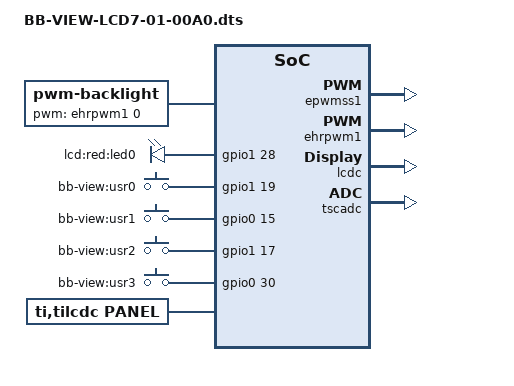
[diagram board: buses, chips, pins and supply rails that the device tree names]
/*
 * Copyright (C) 2012 Texas Instruments Incorporated - http://www.ti.com/
 *
 * This program is free software; you can redistribute it and/or modify
 * it under the terms of the GNU General Public License version 2 as
 * published by the Free Software Foundation.
 */

/dts-v1/;
/plugin/;

#include <dt-bindings/gpio/gpio.h>
#include <dt-bindings/pinctrl/am33xx.h>
#include <dt-bindings/board/am335x-bbw-bbb-base.h>

/ {
	/*
	 * Helper to show loaded overlays under: /proc/device-tree/chosen/overlays/
	 */
	fragment@0 {
		target-path="/";
		__overlay__ {

			chosen {
				overlays {
					BB-VIEW-LCD7-01-00A0 = __TIMESTAMP__;
				};
			};
		};
	};

	/*
	 * Free up the pins used by the cape from the pinmux helpers.
	 */
	fragment@1 {
		target = <&ocp>;
		__overlay__ {
			P9_12_pinmux { status = "disabled"; };	/* P9_12: gpmc_be1n.gpio1_28, INPUT | PULLDIS | MODE7 */

			P9_14_pinmux { status = "disabled"; };	/* P9_14: gpmc_a2.ehrpwm1a */

			P8_45_pinmux { status = "disabled"; };	/* lcd: lcd_data0 */
			P8_46_pinmux { status = "disabled"; };	/* lcd: lcd_data1 */
			P8_43_pinmux { status = "disabled"; };	/* lcd: lcd_data2 */
			P8_44_pinmux { status = "disabled"; };	/* lcd: lcd_data3 */
			P8_41_pinmux { status = "disabled"; };	/* lcd: lcd_data4 */
			P8_42_pinmux { status = "disabled"; };	/* lcd: lcd_data5 */
			P8_39_pinmux { status = "disabled"; };	/* lcd: lcd_data6 */
			P8_40_pinmux { status = "disabled"; };	/* lcd: lcd_data7 */
			P8_37_pinmux { status = "disabled"; };	/* lcd: lcd_data8 */
			P8_38_pinmux { status = "disabled"; };	/* lcd: lcd_data9 */
			P8_36_pinmux { status = "disabled"; };	/* lcd: lcd_data10 */
			P8_34_pinmux { status = "disabled"; };	/* lcd: lcd_data11 */
			P8_35_pinmux { status = "disabled"; };	/* lcd: lcd_data12 */
			P8_33_pinmux { status = "disabled"; };	/* lcd: lcd_data13 */
			P8_31_pinmux { status = "disabled"; };	/* lcd: lcd_data14 */
			P8_32_pinmux { status = "disabled"; };	/* lcd: lcd_data15 */

			P8_15_pinmux { status = "disabled"; };	/* gpmc_ad15.lcd_data16 */
			P8_16_pinmux { status = "disabled"; };	/* gpmc_ad14.lcd_data17 */
			P8_11_pinmux { status = "disabled"; };	/* gpmc_ad13.lcd_data18 */
			P8_12_pinmux { status = "disabled"; };	/* gpmc_ad12.lcd_data19 */
			P8_17_pinmux { status = "disabled"; };	/* gpmc_ad11.lcd_data20 */
			P8_14_pinmux { status = "disabled"; };	/* gpmc_ad10.lcd_data21 */
			P8_13_pinmux { status = "disabled"; };	/* gpmc_ad9.lcd_data22 */
			P8_19_pinmux { status = "disabled"; };	/* gpmc_ad8.lcd_data23 */

			P8_27_pinmux { status = "disabled"; };	/* lcd: lcd_vsync */
			P8_29_pinmux { status = "disabled"; };	/* lcd: lcd_hsync */
			P8_28_pinmux { status = "disabled"; };	/* lcd: lcd_pclk */
			P8_30_pinmux { status = "disabled"; };	/* lcd: lcd_ac_bias_en */

			P9_16_pinmux { status = "disabled"; };	/* P9_16: gpmc_a3.gpio1_19 */
			P9_24_pinmux { status = "disabled"; };	/* P9_24: uart1_txd.gpio0_15 */
			P9_23_pinmux { status = "disabled"; };	/* P9_23: gpmc_a1.gpio1_17 */
			P9_11_pinmux { status = "disabled"; };	/* P9_11: gpmc_wait0.gpio0_30 */
		};
	};

	fragment@2 {
		target = <&am33xx_pinmux>;
		__overlay__ {

			bb_lcd_led_pins: pinmux_bb_lcd_led_pins {
				pinctrl-single,pins = <
					BONE_P9_12 (PIN_INPUT | MUX_MODE7)	/* P9_12: gpmc_be1n.gpio1_28, INPUT | PULLDIS | MODE7 */
					/* I2C cape eeprom */
					/* BONE_P9_20 (PIN_INPUT | MUX_MODE7) */ /* uart1_ctsn.gpio0_12,INPUT | PULLDIS | MODE7 */
				>;
			};

			bb_lcd_pwm_backlight_pins: pinmux_bb_lcd_pwm_backlight_pins {
				pinctrl-single,pins = <
					BONE_P9_14 (PIN_OUTPUT_PULLDOWN | MUX_MODE6)	/* P9_14: gpmc_a2.ehrpwm1a */
				>;
			};

			bb_lcd_lcd_pins: pinmux_bb_lcd_lcd_pins {
				pinctrl-single,pins = <
					BONE_P8_45 (PIN_OUTPUT | MUX_MODE0)	/* P8_45: lcd_data0.lcd_data0 */
					BONE_P8_46 (PIN_OUTPUT | MUX_MODE0)	/* P8_46: lcd_data1.lcd_data1 */
					BONE_P8_43 (PIN_OUTPUT | MUX_MODE0)	/* P8_43: lcd_data2.lcd_data2 */
					BONE_P8_44 (PIN_OUTPUT | MUX_MODE0)	/* P8_44: lcd_data3.lcd_data3 */
					BONE_P8_41 (PIN_OUTPUT | MUX_MODE0)	/* P8_41: lcd_data4.lcd_data4 */
					BONE_P8_42 (PIN_OUTPUT | MUX_MODE0)	/* P8_42: lcd_data5.lcd_data5 */
					BONE_P8_39 (PIN_OUTPUT | MUX_MODE0)	/* P8_39: lcd_data6.lcd_data6 */
					BONE_P8_40 (PIN_OUTPUT | MUX_MODE0)	/* P8_40: lcd_data7.lcd_data7 */
					BONE_P8_37 (PIN_OUTPUT | MUX_MODE0)	/* P8_37: lcd_data8.lcd_data8 */
					BONE_P8_38 (PIN_OUTPUT | MUX_MODE0)	/* P8_38: lcd_data9.lcd_data9 */
					BONE_P8_36 (PIN_OUTPUT | MUX_MODE0)	/* P8_36: lcd_data10.lcd_data10 */
					BONE_P8_34 (PIN_OUTPUT | MUX_MODE0)	/* P8_34: lcd_data11.lcd_data11 */
					BONE_P8_35 (PIN_OUTPUT | MUX_MODE0)	/* P8_35: lcd_data12.lcd_data12 */
					BONE_P8_33 (PIN_OUTPUT | MUX_MODE0)	/* P8_33: lcd_data13.lcd_data13 */
					BONE_P8_31 (PIN_OUTPUT | MUX_MODE0)	/* P8_31: lcd_data14.lcd_data14 */
					BONE_P8_32 (PIN_OUTPUT | MUX_MODE0)	/* P8_32: lcd_data15.lcd_data15 */

					BONE_P8_15 (PIN_OUTPUT | MUX_MODE1)	/* P8_15: gpmc_ad15.lcd_data16 */
					BONE_P8_16 (PIN_OUTPUT | MUX_MODE1)	/* P8_16: gpmc_ad14.lcd_data17 */
					BONE_P8_11 (PIN_OUTPUT | MUX_MODE1)	/* P8_11: gpmc_ad13.lcd_data18 */
					BONE_P8_12 (PIN_OUTPUT | MUX_MODE1)	/* P8_12: gpmc_ad12.lcd_data19 */
					BONE_P8_17 (PIN_OUTPUT | MUX_MODE1)	/* P8_17: gpmc_ad11.lcd_data20 */
					BONE_P8_14 (PIN_OUTPUT | MUX_MODE1)	/* P8_14: gpmc_ad10.lcd_data21 */
					BONE_P8_13 (PIN_OUTPUT | MUX_MODE1)	/* P8_13: gpmc_ad9.lcd_data22 */
					BONE_P8_19 (PIN_OUTPUT | MUX_MODE1)	/* P8_19: gpmc_ad8.lcd_data23 */

					BONE_P8_27 (PIN_OUTPUT | MUX_MODE0)	/* P8_27: lcd_vsync.lcd_vsync */
					BONE_P8_29 (PIN_OUTPUT | MUX_MODE0)	/* P8_29: lcd_hsync.lcd_hsync */
					BONE_P8_28 (PIN_OUTPUT | MUX_MODE0)	/* P8_28: lcd_pclk.lcd_pclk */
					BONE_P8_30 (PIN_OUTPUT | MUX_MODE0)	/* P8_30: lcd_ac_bias_en.lcd_ac_bias_en */
				>;
			};

			bb_lcd_keymap_pins: pinmux_bb_lcd_keymap_pins {
				pinctrl-single,pins = <
					BONE_P9_16 (PIN_INPUT | MUX_MODE7)	/* P9_16: gpmc_a3.gpio1_19 */
					BONE_P9_24 (PIN_INPUT | MUX_MODE7)	/* P9_24: uart1_txd.gpio0_15 */
					BONE_P9_23 (PIN_INPUT | MUX_MODE7)	/* P9_23: gpmc_a1.gpio1_17 */
					BONE_P9_11 (PIN_INPUT | MUX_MODE7)	/* P9_11: gpmc_wait0.gpio0_30 */
				>;
			};
		};
	};

	fragment@3 {
		target = <&epwmss1>;
		__overlay__ {
			status = "okay";
		};
	};

	fragment@4 {
		target = <&ehrpwm1>;
		__overlay__ {
			pinctrl-names = "default";
			pinctrl-0 = <&bb_lcd_pwm_backlight_pins>;
			status = "okay";
		};
	};

	fragment@5 {
		target = <&lcdc>;
		__overlay__ {
			status = "okay";
			blue-and-red-wiring = "crossed";
		};
	};

	fragment@6 {
		target = <&tscadc>;
		__overlay__ {
			status = "okay";
			tsc {
				ti,wires = <4>;
				ti,x-plate-resistance = <200>;
				ti,coordinate-readouts = <5>;
				ti,wire-config = <0x00 0x11 0x22 0x33>;
				ti,charge-delay = <0x400>;
			};

			adc {
				ti,adc-channels = <4 5 6 7>;
			};
		};
	};

	fragment@7 {
		target-path="/";
		__overlay__ {
			backlight {
				status = "okay";
				compatible = "pwm-backlight";
				pwms = <&ehrpwm1 0 500000 0>;
				brightness-levels = <
					0  1  2  3  4  5  6  7  8  9
					10 11 12 13 14 15 16 17 18 19
					20 21 22 23 24 25 26 27 28 29
					30 31 32 33 34 35 36 37 38 39
					40 41 42 43 44 45 46 47 48 49
					50 51 52 53 54 55 56 57 58 59
					60 61 62 63 64 65 66 67 68 69
					70 71 72 73 74 75 76 77 78 79
					80 81 82 83 84 85 86 87 88 89
					90 91 92 93 94 95 96 97 98 99
					100
				>;
				default-brightness-level = <100>;
			};

			gpio-leds-cape-lcd {
				compatible = "gpio-leds";
				pinctrl-names = "default";
				pinctrl-0 = <&bb_lcd_led_pins>;

				lcd-led0 {
					label = "lcd:red:led0";
					gpios = <&gpio1 28 0>;
					linux,default-trigger = "heartbeat";
					default-state = "off";
				};

/* I2C cape eeprom */
/*
				lcd-led1 {
					label = "lcd:green:led1";
					gpios = <&gpio0 12 0>;
					linux,default-trigger = "none";
					default-state = "off";
				};
*/
			};

			gpio_keys {
				compatible = "gpio-keys";
				pinctrl-names = "default";
				pinctrl-0 = <&bb_lcd_keymap_pins>;

				button@1 {
					debounce_interval = <50>;
					linux,code = <0x100>;
					label = "bb-view:usr0";
					gpios = <&gpio1 19 0x0>;
					gpio-key,wakeup;
					autorepeat;
				};
				button@2 {
					debounce_interval = <50>;
					linux,code = <0x101>;
					label = "bb-view:usr1";
					gpios = <&gpio0 15 0x0>;
					gpio-key,wakeup;
					autorepeat;
				};
				button@3 {
					debounce_interval = <50>;
					linux,code = <0x102>;
					label = "bb-view:usr2";
					gpios = <&gpio1 17 0x0>;
					gpio-key,wakeup;
					autorepeat;
				};
				button@4 {
					debounce_interval = <50>;
					linux,code = <0x103>;
					label = "bb-view:usr3";
					gpios = <&gpio0 30 0x0>;
					gpio-key,wakeup;
					autorepeat;
				};
			};

			/* Embest 7 inch LCD cape: */
			panel {
				status = "okay";
				compatible = "ti,tilcdc,panel";
				pinctrl-names = "default";
				pinctrl-0 = <&bb_lcd_lcd_pins>;
				panel-info {
					ac-bias           = <255>;
					ac-bias-intrpt    = <0>;
					dma-burst-sz      = <16>;
					bpp               = <32>;
					fdd               = <0x80>;
					tft-alt-mode      = <0>;
					stn-565-mode      = <0>;
					mono-8bit-mode    = <0>;
					sync-edge         = <0>;
					sync-ctrl         = <1>;
					raster-order      = <0>;
					fifo-th           = <0>;
				};
				display-timings {
					native-mode = <&timing0>;
					timing0: 800x480 {
						clock-frequency = <30000000>;
						hactive = <800>;
						vactive = <480>;
						hfront-porch = <40>;
						hback-porch = <40>;
						hsync-len = <48>;
						vback-porch = <30>;
						vfront-porch = <13>;
						vsync-len = <3>;
						hsync-active = <0>;
						vsync-active  = <0>;
					};
				};
			};
		};
	};
};
